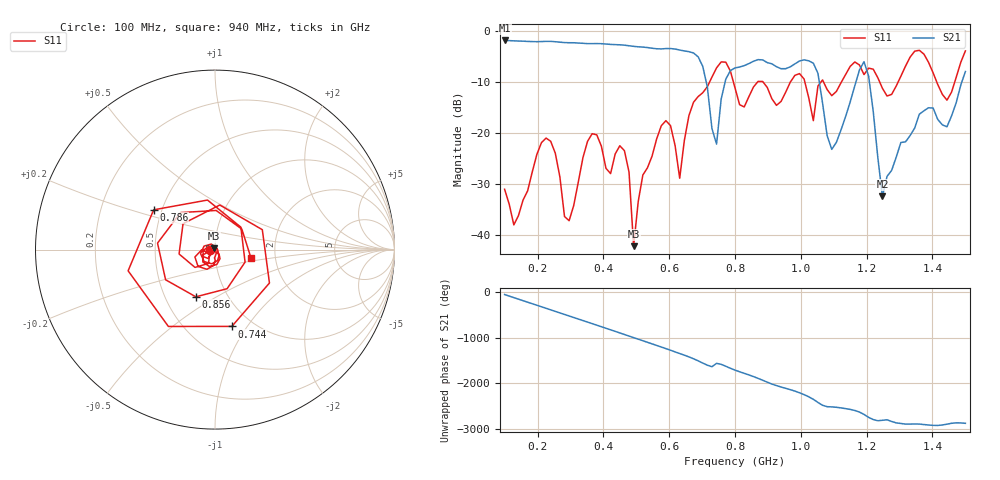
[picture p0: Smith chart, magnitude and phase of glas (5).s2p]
! NanoVNA-App
! Date: 2025-09-25 15:55:31
! Start: 100MHz Stop: 1,5GHz Points: 101
! S-Parameter data: F S11 S21 S12 S22
# Hz S RI R 50
!  Frequency  S11_Real  S11_Imag  S21_Real  S21_Imag  S12_Real  S12_Imag  S22_Real  S22_Imag
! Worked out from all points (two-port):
!   101 points, 100 MHz to 1.5 GHz, reference 50 ohm
!   highest |S21| = -1.80 dB at 100 MHz (marker M1); lowest = -32.4 dB at 1.248 GHz (marker M2)
!   |S21| within 3 dB of the highest: start of sweep to 684.2 MHz
!   lowest |S11| = -42.1 dB at 492 MHz (marker M3), VSWR 1.02, Z = 49.5 + j0.623 ohm
!   |S11| at or under -10 dB: start of sweep to 722.4 MHz; 795.4 MHz to 867.8 MHz (72.44 MHz wide, 8.71 % of centre); 886 MHz to 967.8 MHz (81.86 MHz wide, 8.83 % of centre) (the widest 3 of 7)
!   S12 and S22 are empty: the file has one direction only
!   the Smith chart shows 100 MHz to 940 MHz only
!   S11 on the Smith chart (normalised r, x): 100 MHz: 0.95, -0.01; 744 MHz: 0.80, -0.85; 786 MHz: 0.45, +0.24; 856 MHz: 0.71, -0.41; 940 MHz: 1.49, -0.14
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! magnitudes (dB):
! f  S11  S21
! 100 MHz  -31.0  -1.8
! 128 MHz  -37.9  -1.9
! 226 MHz  -20.9  -2.0
! 296 MHz  -37.1  -2.2
! 338 MHz  -24.8  -2.4
! 464 MHz  -23.4  -2.7
! 492 MHz  -42.1  -3.0
! 576 MHz  -18.5  -3.5
! 632 MHz  -28.8  -3.7
! 702 MHz  -12.0  -6.9
! 744 MHz  -7.2  -22.1
! 786 MHz  -7.8  -7.7
! 800 MHz  -11.1  -7.2
! 856 MHz  -10.9  -5.9
! 940 MHz  -13.7  -7.3
! 996 MHz  -8.3  -5.8
! 1.038 GHz  -17.5  -6.2
! 1.094 GHz  -12.6  -23.1
! 1.192 GHz  -8.5  -6.0
! 1.248 GHz  -11.2  -32.4
! 1.276 GHz  -12.4  -27.3
! 1.5 GHz  -3.8  -7.9
